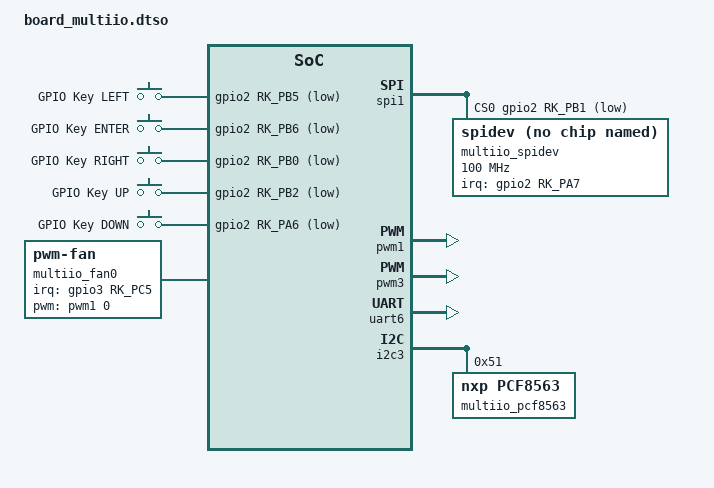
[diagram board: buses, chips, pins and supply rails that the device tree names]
/dts-v1/;
/plugin/;

#include <dt-bindings/gpio/gpio.h>
#include <dt-bindings/pinctrl/rockchip.h>
#include <dt-bindings/interrupt-controller/irq.h>

&{/} {
	key_pad: key_pad {
		compatible = "gpio-keys";
		autorepeat;

		left { /* SW 3 */
		label = "GPIO Key LEFT";
			linux,code = <105>;
			gpios = <&gpio2 RK_PB5 GPIO_ACTIVE_LOW>;
		};

		enter { /* SW 4 */
		label = "GPIO Key ENTER";
			linux,code = <28>;
			gpios = <&gpio2 RK_PB6 GPIO_ACTIVE_LOW>;
		};

		right { /* SW 5 */
		label = "GPIO Key RIGHT";
			linux,code = <106>;
			gpios = <&gpio2 RK_PB0 GPIO_ACTIVE_LOW>;
		};

		up { /* SW 6 */
		label = "GPIO Key UP";
			linux,code = <103>;
			gpios = <&gpio2 RK_PB2 GPIO_ACTIVE_LOW>;
		};

		down { /* SW 7 */
		label = "GPIO Key DOWN";
			linux,code = <108>;
			gpios = <&gpio2 RK_PA6 GPIO_ACTIVE_LOW>;
		};
	};

	multiio_fan0: pwm-fan {
		status = "okay";
		compatible = "pwm-fan";
		#cooling-cells = <2>;
		cooling-min-state = <0>;
		cooling-max-state = <3>;
		cooling-levels = <0 128 180 240>;
		interrupt-parent = <&gpio3>;
		interrupts = <RK_PC5 IRQ_TYPE_EDGE_FALLING>;
		pulses-per-revolution = <2>;
		pwms = <&pwm1 0 40000 0>;
		rockchip,temp-trips = <
								  50000	1
								  60000	2
								  70000	3
							  >;
	};
};

&spi1 {
	num-cs = <1>;
	cs-gpios = <&gpio2 RK_PB1 GPIO_ACTIVE_LOW>;

	status = "okay";
	#address-cells = <1>;
	#size-cells = <0>;

	multiio_spidev: spidev@0 {
		compatible = "rockchip,spidev";
		reg = <0>;
		interrupt-parent = <&gpio2>;
		interrupts = <RK_PA7 IRQ_TYPE_EDGE_FALLING>;
		spi-max-frequency = <100000000>;
		status = "okay";
	};
};

&pwm1 {
	status = "okay";
};

&pwm3 {
	status = "okay";
};

&uart6 {
	status = "okay";
	pinctrl-names = "not_use_it", "default";
};

&i2c3 {
	status = "okay";
	#address-cells = <1>;
	#size-cells = <0>;

	multiio_pcf8563: rtc@51 {
		status = "okay";
		compatible = "nxp,pcf8563";
		reg = <0x51>;
	};
};
